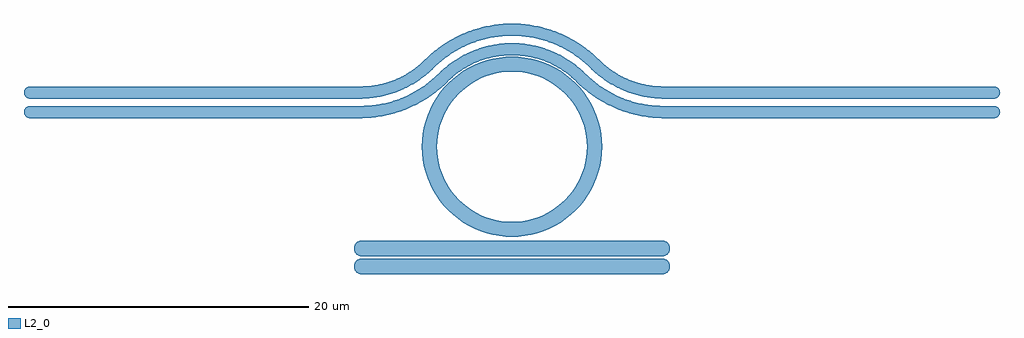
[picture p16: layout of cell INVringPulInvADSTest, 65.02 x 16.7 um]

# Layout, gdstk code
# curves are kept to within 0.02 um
import gdstk
lib = gdstk.Library(unit=1e-6, precision=1e-09)
def P(c, l, *ps):  # polygons
    for p in ps: c.add(gdstk.Polygon(p, *l))
L2_0 = (2, 0)

invringpulinvadstest = lib.new_cell('INVringPulInvADSTest')
P(invringpulinvadstest, L2_0, [(5,-16),(4.146,-15.939),(3.725,-15.863),(2.903,-15.622),(2.508,-15.458),(1.756,-15.048),(1.404,-14.803),(0.757,-14.243),(0.197,-13.596),(-0.048,-13.244),(-0.458,-12.492),(-0.622,-12.097),(-0.863,-11.275),(-0.939,-10.854),(-1,-10),(-0.939,-9.146),(-0.863,-8.725),(-0.622,-7.903),(-0.458,-7.508),(-0.048,-6.756),(0.197,-6.404),(0.757,-5.757),(1.404,-5.197),(1.756,-4.952),(2.508,-4.542),(2.903,-4.378),(3.725,-4.137),(4.146,-4.061),(5,-4),(5.854,-4.061),(6.275,-4.137),(7.097,-4.378),(7.492,-4.542),(8.244,-4.952),(8.596,-5.197),(9.243,-5.757),(9.803,-6.404),(10.048,-6.756),(10.458,-7.508),(10.622,-7.903),(10.863,-8.725),(10.939,-9.146),(11,-10),(10,-10),(9.949,-9.288),(9.886,-8.937),(9.685,-8.253),(9.388,-7.604),(9.003,-7.004),(8.536,-6.464),(7.996,-5.997),(7.396,-5.612),(6.747,-5.315),(6.063,-5.114),(5.357,-5.013),(4.643,-5.013),(3.937,-5.114),(3.253,-5.315),(2.604,-5.612),(2.004,-5.997),(1.464,-6.464),(0.997,-7.004),(0.794,-7.297),(0.452,-7.923),(0.203,-8.591),(0.051,-9.288),(0,-10),(0.051,-10.712),(0.114,-11.063),(0.315,-11.747),(0.452,-12.077),(0.794,-12.703),(1.221,-13.274),(1.464,-13.536),(2.004,-14.003),(2.604,-14.388),(3.253,-14.685),(3.937,-14.886),(4.288,-14.949),(5,-15),(5.712,-14.949),(6.063,-14.886),(6.747,-14.685),(7.077,-14.548),(7.703,-14.206),(7.996,-14.003),(8.536,-13.536),(9.003,-12.996),(9.388,-12.396),(9.685,-11.747),(9.886,-11.063),(9.949,-10.712),(10,-10),(11,-10),(10.939,-10.854),(10.863,-11.275),(10.622,-12.097),(10.458,-12.492),(10.048,-13.244),(9.803,-13.596),(9.243,-14.243),(8.596,-14.803),(8.244,-15.048),(7.492,-15.458),(7.097,-15.622),(6.275,-15.863),(5.854,-15.939)],
  [(-27.112,-8.088),(-27.112,-7.288),(-5.112,-7.288),(-4.584,-7.27),(-3.928,-7.193),(-3.282,-7.059),(-2.65,-6.867),(-2.038,-6.62),(-1.45,-6.319),(-0.891,-5.967),(-0.468,-5.65),(0.481,-4.785),(0.964,-4.403),(1.479,-4.066),(2.134,-3.724),(2.821,-3.453),(3.533,-3.258),(4.262,-3.14),(5,-3.1),(5,-3.9),(4.348,-3.935),(3.703,-4.039),(3.074,-4.212),(2.466,-4.451),(1.981,-4.699),(1.432,-5.052),(1.005,-5.39),(0.368,-5.989),(-0.081,-6.364),(-0.556,-6.706),(-1.054,-7.014),(-1.705,-7.347),(-2.384,-7.621),(-3.084,-7.834),(-3.8,-7.983),(-4.381,-8.056),(-5.112,-8.088)],
  [(15.112,-8.088),(14.235,-8.041),(13.226,-7.869),(12.246,-7.571),(11.441,-7.221),(10.802,-6.865),(10.316,-6.539),(9.742,-6.086),(8.828,-5.25),(8.298,-4.868),(7.827,-4.595),(7.132,-4.285),(6.509,-4.089),(5.76,-3.948),(5,-3.9),(5,-3.1),(5.738,-3.14),(6.467,-3.258),(7.062,-3.415),(7.754,-3.673),(8.414,-4.004),(9.036,-4.403),(9.519,-4.785),(10.572,-5.732),(11.111,-6.114),(11.565,-6.383),(12.158,-6.673),(12.775,-6.91),(13.41,-7.09),(14.189,-7.231),(15.112,-7.288),(37.112,-7.288),(37.112,-8.088)],
  [(-27.112,-6.788),(-27.112,-5.988),(-5.112,-5.988),(-4.136,-5.91),(-3.603,-5.799),(-3.082,-5.641),(-2.578,-5.437),(-2.093,-5.189),(-1.369,-4.706),(-0.37,-3.803),(0.323,-3.264),(0.942,-2.874),(1.727,-2.481),(2.41,-2.22),(3.257,-1.987),(4.123,-1.847),(5,-1.8),(5,-2.6),(4.209,-2.642),(3.427,-2.769),(2.663,-2.979),(1.926,-3.269),(1.224,-3.636),(0.672,-3.998),(0.154,-4.407),(-0.782,-5.261),(-1.278,-5.626),(-1.697,-5.884),(-2.245,-6.165),(-2.816,-6.395),(-3.405,-6.574),(-4.008,-6.7),(-4.619,-6.771),(-5.112,-6.788)],
  [(15.112,-6.788),(14.252,-6.735),(13.525,-6.603),(12.7,-6.353),(12.023,-6.059),(11.485,-5.759),(10.977,-5.412),(10.501,-5.022),(9.846,-4.407),(9.22,-3.921),(8.546,-3.505),(7.832,-3.163),(7.211,-2.938),(6.444,-2.742),(5.66,-2.629),(5,-2.6),(5,-1.8),(5.877,-1.847),(6.743,-1.987),(7.59,-2.22),(8.273,-2.481),(9.058,-2.874),(9.677,-3.264),(10.37,-3.803),(11.369,-4.706),(12.093,-5.189),(12.578,-5.437),(13.185,-5.676),(13.709,-5.825),(14.351,-5.941),(15.112,-5.988),(37.112,-5.988),(37.112,-6.788)],
  [(37.112,-8.088),(37.112,-7.288),(37.267,-7.32),(37.394,-7.406),(37.48,-7.533),(37.512,-7.688),(37.48,-7.844),(37.394,-7.971),(37.267,-8.057)],
  [(-27.112,-8.088),(-27.267,-8.057),(-27.394,-7.971),(-27.48,-7.844),(-27.512,-7.688),(-27.48,-7.533),(-27.394,-7.406),(-27.267,-7.32),(-27.112,-7.288)],
  [(37.112,-6.788),(37.112,-5.988),(37.267,-6.02),(37.394,-6.106),(37.48,-6.233),(37.512,-6.388),(37.48,-6.544),(37.394,-6.671),(37.267,-6.757)],
  [(-27.112,-6.788),(-27.267,-6.757),(-27.394,-6.671),(-27.48,-6.544),(-27.512,-6.388),(-27.48,-6.233),(-27.394,-6.106),(-27.267,-6.02),(-27.112,-5.988)],
  [(-5,-18.5),(-5.204,-18.459),(-5.371,-18.346),(-5.484,-18.179),(-5.525,-17.975),(-5.484,-17.771),(-5.371,-17.604),(-5.204,-17.491),(-5,-17.45),(15,-17.45),(15.204,-17.491),(15.371,-17.604),(15.484,-17.771),(15.525,-17.975),(15.484,-18.179),(15.371,-18.346),(15.204,-18.459),(15,-18.5)],
  [(-5,-17.3),(-5.204,-17.259),(-5.371,-17.146),(-5.484,-16.979),(-5.525,-16.775),(-5.484,-16.571),(-5.371,-16.404),(-5.204,-16.291),(-5,-16.25),(15,-16.25),(15.204,-16.291),(15.371,-16.404),(15.484,-16.571),(15.525,-16.775),(15.484,-16.979),(15.371,-17.146),(15.204,-17.259),(15,-17.3)])

lib.write_gds('INVringPulInvADSTest.gds')
